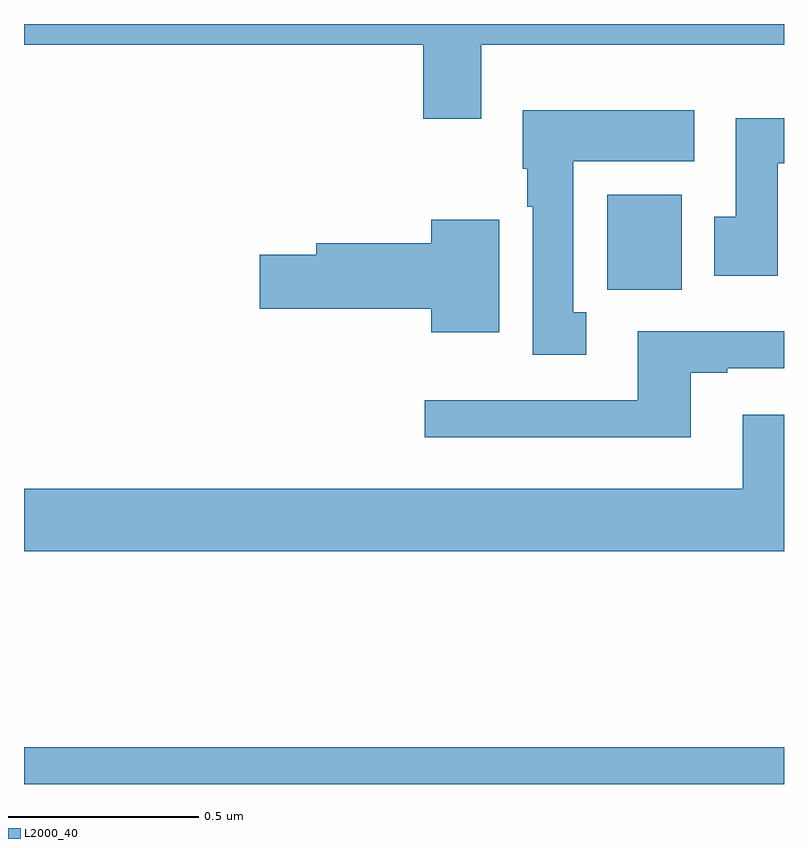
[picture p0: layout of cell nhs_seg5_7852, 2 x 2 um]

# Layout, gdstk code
import gdstk
lib = gdstk.Library(unit=1e-6, precision=1e-09)
def R(c, l, rs):  # rectangles x0, y0, x1, y1
    for r in rs: c.add(gdstk.rectangle(r[:2], r[2:], *l))
def P(c, l, *ps):  # polygons
    for p in ps: c.add(gdstk.Polygon(p, *l))
L2000_40 = (2000, 40)

nhs_seg5_7852 = lib.new_cell('nhs_seg5_7852')
R(nhs_seg5_7852, L2000_40, [(214,870.799,216,870.896), (215.535,872.1,215.731,872.35)])
P(nhs_seg5_7852, L2000_40, [(215.203,872.744),(216,872.744),(216,872.799),(214,872.799),(214,872.744),(215.051,872.744),(215.051,872.55),(215.203,872.55)],
  [(215.479,872.041),(215.446,872.041),(215.446,872.438),(215.764,872.438),(215.764,872.572),(215.312,872.572),(215.312,872.418),(215.324,872.418),(215.324,872.318),(215.339,872.318),(215.339,871.929),(215.479,871.929)],
  [(215.983,872.432),(216,872.432),(216,872.551),(215.873,872.551),(215.873,872.292),(215.816,872.292),(215.816,872.136),(215.983,872.136)],
  [(215.251,872.284),(215.072,872.284),(215.072,872.222),(214.769,872.222),(214.769,872.192),(214.62,872.192),(214.62,872.05),(215.072,872.05),(215.072,871.988),(215.251,871.988)],
  [(215.755,871.881),(215.851,871.881),(215.851,871.893),(216,871.893),(216,871.99),(215.615,871.99),(215.615,871.809),(215.055,871.809),(215.055,871.712),(215.755,871.712)],
  [(216,871.771),(215.891,871.771),(215.891,871.576),(214,871.576),(214,871.412),(216,871.412)])

lib.write_gds('nhs_seg5_7852.gds')
